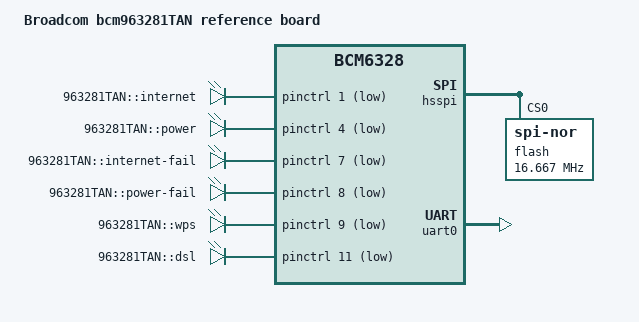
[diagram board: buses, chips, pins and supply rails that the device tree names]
/dts-v1/;

#include "bcm6328.dtsi"

#include <dt-bindings/input/input.h>

/ {
	model = "Broadcom bcm963281TAN reference board";
	compatible = "brcm,bcm963281TAN", "brcm,bcm6328";

	chosen {
		bootargs = "rootfstype=squashfs,jffs2 noinitrd console=ttyS0,115200";
		stdout-path = "serial0:115200n8";
	};

	gpio-leds {
		compatible = "gpio-leds";

		inet {
			label = "963281TAN::internet";
			gpios = <&pinctrl 1 1>;
		};
		power {
			label = "963281TAN::power";
			gpios = <&pinctrl 4 1>;
			default-state = "on";
		};
		inet_fail {
			label = "963281TAN::internet-fail";
			gpios = <&pinctrl 7 1>;
		};
		power_fail {
			label = "963281TAN::power-fail";
			gpios = <&pinctrl 8 1>;
		};
		wps {
			label = "963281TAN::wps";
			gpios = <&pinctrl 9 1>;
		};
		dsl {
			label = "963281TAN::dsl";
			gpios = <&pinctrl 11 1>;
		};
	};
};

&hsspi {
	status = "ok";

	flash@0 {
		compatible = "jedec,spi-nor";
		spi-max-frequency = <16666667>;
		spi-tx-bus-width = <2>;
		spi-rx-bus-width = <2>;
		reg = <0>;

		#address-cells = <1>;
		#size-cells = <1>;

		linux,part-probe = "bcm63xxpart";

		partitions {
			compatible = "brcm,bcm963xx-cfe-nor-partitions";
		};
	};
};

&uart0 {
	status = "ok";
};
